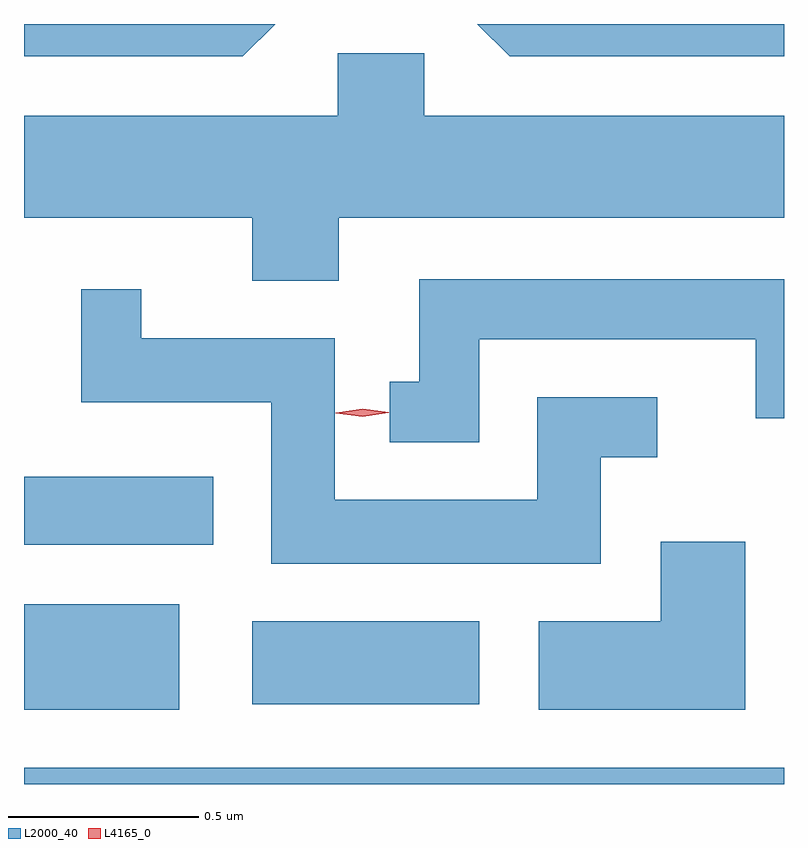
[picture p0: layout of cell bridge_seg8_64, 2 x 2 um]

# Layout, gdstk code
import gdstk
lib = gdstk.Library(unit=1e-6, precision=1e-09)
def R(c, l, rs):  # rectangles x0, y0, x1, y1
    for r in rs: c.add(gdstk.rectangle(r[:2], r[2:], *l))
def P(c, l, *ps):  # polygons
    for p in ps: c.add(gdstk.Polygon(p, *l))
L2000_40 = (2000, 40)
L4165_0 = (4165, 0)

bridge_seg8_64 = lib.new_cell('bridge_seg8_64')
R(bridge_seg8_64, L2000_40, [(1475.611,1917.066,1477.611,1917.109), (1475.611,1917.261,1476.019,1917.539), (1476.211,1917.276,1476.809,1917.494), (1475.611,1917.696,1476.109,1917.874)])
P(bridge_seg8_64, L2000_40, [(1476.272,1919.066),(1475.611,1919.066),(1475.611,1918.981),(1476.187,1918.981)],
  [(1477.611,1919.066),(1476.804,1919.066),(1476.889,1918.981),(1477.611,1918.981)],
  [(1476.439,1918.556),(1477.611,1918.556),(1477.611,1918.824),(1476.664,1918.824),(1476.664,1918.989),(1476.436,1918.989),(1476.436,1918.824),(1475.611,1918.824),(1475.611,1918.556),(1476.211,1918.556),(1476.211,1918.391),(1476.439,1918.391)],
  [(1476.809,1918.236),(1477.536,1918.236),(1477.536,1918.028),(1477.611,1918.028),(1477.611,1918.394),(1476.651,1918.394),(1476.651,1918.124),(1476.573,1918.124),(1476.573,1917.966),(1476.809,1917.966)],
  [(1477.129,1917.926),(1477.278,1917.926),(1477.278,1918.084),(1476.961,1918.084),(1476.961,1917.814),(1476.429,1917.814),(1476.429,1918.239),(1475.919,1918.239),(1475.919,1918.368),(1475.761,1918.368),(1475.761,1918.071),(1476.261,1918.071),(1476.261,1917.646),(1477.129,1917.646)],
  [(1477.509,1917.704),(1477.286,1917.704),(1477.286,1917.494),(1476.966,1917.494),(1476.966,1917.261),(1477.509,1917.261)])
P(bridge_seg8_64, L4165_0, [(1476.502,1918.033),(1476.432,1918.042),(1476.432,1918.042),(1476.432,1918.043),(1476.502,1918.053),(1476.571,1918.044),(1476.571,1918.043),(1476.571,1918.043)])

lib.write_gds('bridge_seg8_64.gds')
